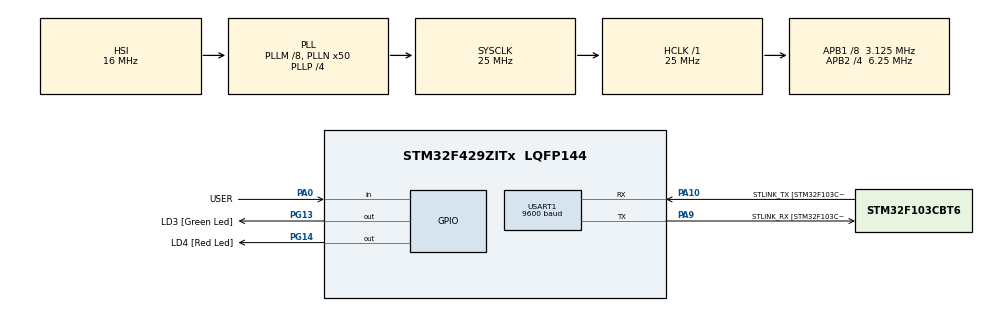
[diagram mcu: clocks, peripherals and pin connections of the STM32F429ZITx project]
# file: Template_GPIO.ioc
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Mcu.Family=STM32F4
Mcu.Name=STM32F429ZITx
Mcu.Package=LQFP144
NVIC.PriorityGroup=NVIC_PRIORITYGROUP_4
NVIC.USART1_IRQn=true\:0\:0\:false\:false\:true\:true\:true\:true
PA0/WKUP.GPIO_Label=USER
PA0/WKUP.Signal=GPIO_Input
PA10.GPIO_Label=STLINK_TX [STM32F103CBT6_PA2]
PA10.Mode=Asynchronous
PA10.Signal=USART1_RX
PA13.GPIO_Label=SWDIO
PA13.Mode=Serial_Wire
PA13.Signal=SYS_JTMS-SWDIO
PA14.GPIO_Label=SWCLK
PA14.Mode=Serial_Wire
PA14.Signal=SYS_JTCK-SWCLK
PA9.GPIO_Label=STLINK_RX [STM32F103CBT6_PA3]
PA9.Mode=Asynchronous
PA9.Signal=USART1_TX
PG13.GPIO_Label=LD3 [Green Led]
PG13.Signal=GPIO_Output
PG14.GPIO_Label=LD4 [Red Led]
PG14.GPIO_Mode=GPIO_MODE_OUTPUT_PP
PG14.GPIO_PuPd=GPIO_NOPULL
PG14.GPIO_Speed=GPIO_SPEED_FREQ_LOW
PG14.Signal=GPIO_Output
PH0/OSC_IN.GPIO_Label=PH0-OSC_IN
PH0/OSC_IN.Mode=HSE-External-Oscillator
PH0/OSC_IN.Signal=RCC_OSC_IN
PH1/OSC_OUT.GPIO_Label=PH1-OSC_OUT
PH1/OSC_OUT.Mode=HSE-External-Oscillator
PH1/OSC_OUT.Signal=RCC_OSC_OUT
ProjectManager.HeapSize=0x200
ProjectManager.StackSize=0x400
ProjectManager.TargetToolchain=MDK-ARM V5.32
RCC.48MHZClocksFreq_Value=14285714.285714285
RCC.AHBFreq_Value=25000000
RCC.APB1CLKDivider=RCC_HCLK_DIV8
RCC.APB1Freq_Value=3125000
RCC.APB1TimFreq_Value=6250000
RCC.APB2CLKDivider=RCC_HCLK_DIV4
RCC.APB2Freq_Value=6250000
RCC.APB2TimFreq_Value=12500000
RCC.CortexFreq_Value=25000000
RCC.HCLKFreq_Value=25000000
RCC.HSE_VALUE=8000000
RCC.HSI_VALUE=16000000
RCC.LSE_VALUE=32768
RCC.PLLM=8
RCC.PLLN=50
RCC.PLLP=RCC_PLLP_DIV4
RCC.PLLQ=7
RCC.SYSCLKFreq_VALUE=25000000
RCC.SYSCLKSource=RCC_SYSCLKSOURCE_PLLCLK
RCC.VCOOutputFreq_Value=100000000
USART1.BaudRate=9600
USART1.VirtualMode=VM_ASYNC
board=STM32F429I-DISC1

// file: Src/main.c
/* USER CODE BEGIN Header */
/**
  ******************************************************************************
  * @file           : main.c
  * @brief          : Main program body
  ******************************************************************************
  * @attention
  *
  * <h2><center>&copy; Copyright (c) 2020 STMicroelectronics.
  * All rights reserved.</center></h2>
  *
  * This software component is licensed by ST under BSD 3-Clause license,
  * the "License"; You may not use this file except in compliance with the
  * License. You may obtain a copy of the License at:
  *                        opensource.org/licenses/BSD-3-Clause
  *
  ******************************************************************************
  */
/* USER CODE END Header */
#include "main.h"

/* USER CODE BEGIN Includes */
#include <stdio.h>
/* USER CODE END Includes */

UART_HandleTypeDef huart1;

void SystemClock_Config(void);
static void MX_GPIO_Init(void);
static void MX_USART1_UART_Init(void);

int main(void)
{

  /* MCU Configuration--------------------------------------------------------*/

  /* Reset of all peripherals, Initializes the Flash interface and the Systick. */
  HAL_Init();

  /* Configure the system clock */
  SystemClock_Config();

  /* Initialize all configured peripherals */
  MX_GPIO_Init();
  MX_USART1_UART_Init();
  /* USER CODE BEGIN 2 */
	printf("\n\rUSV - FIESC \n\r");
	printf("Laborator MICROCONTROLERE - Template STM32F429I-DISCO \n\r");
  /* USER CODE END 2 */

  /* Infinite loop */
  while (1)
  {

    /* USER CODE BEGIN 3 */
		if(HAL_GPIO_ReadPin(GPIOA,GPIO_PIN_0) == GPIO_PIN_RESET)
			HAL_GPIO_TogglePin(GPIOG,GPIO_PIN_14);
		else
			HAL_GPIO_TogglePin(GPIOG,GPIO_PIN_13);
		HAL_Delay(500);
  }
  /* USER CODE END 3 */
}

void SystemClock_Config(void)
{
  RCC_OscInitTypeDef RCC_OscInitStruct = {0};
  RCC_ClkInitTypeDef RCC_ClkInitStruct = {0};

  /** Configure the main internal regulator output voltage
  */
  __HAL_RCC_PWR_CLK_ENABLE();
  __HAL_PWR_VOLTAGESCALING_CONFIG(PWR_REGULATOR_VOLTAGE_SCALE3);

  /** Initializes the RCC Oscillators according to the specified parameters
  * in the RCC_OscInitTypeDef structure.
  */
  RCC_OscInitStruct.OscillatorType = RCC_OSCILLATORTYPE_HSI;
  RCC_OscInitStruct.HSIState = RCC_HSI_ON;
  RCC_OscInitStruct.HSICalibrationValue = RCC_HSICALIBRATION_DEFAULT;
  RCC_OscInitStruct.PLL.PLLState = RCC_PLL_ON;
  RCC_OscInitStruct.PLL.PLLSource = RCC_PLLSOURCE_HSI;
  RCC_OscInitStruct.PLL.PLLM = 8;
  RCC_OscInitStruct.PLL.PLLN = 50;
  RCC_OscInitStruct.PLL.PLLP = RCC_PLLP_DIV4;
  RCC_OscInitStruct.PLL.PLLQ = 7;
  if (HAL_RCC_OscConfig(&RCC_OscInitStruct) != HAL_OK)
  {
    Error_Handler();
  }

  /** Initializes the CPU, AHB and APB buses clocks
  */
  RCC_ClkInitStruct.ClockType = RCC_CLOCKTYPE_HCLK|RCC_CLOCKTYPE_SYSCLK
                              |RCC_CLOCKTYPE_PCLK1|RCC_CLOCKTYPE_PCLK2;
  RCC_ClkInitStruct.SYSCLKSource = RCC_SYSCLKSOURCE_PLLCLK;
  RCC_ClkInitStruct.AHBCLKDivider = RCC_SYSCLK_DIV1;
  RCC_ClkInitStruct.APB1CLKDivider = RCC_HCLK_DIV8;
  RCC_ClkInitStruct.APB2CLKDivider = RCC_HCLK_DIV4;

  if (HAL_RCC_ClockConfig(&RCC_ClkInitStruct, FLASH_LATENCY_0) != HAL_OK)
  {
    Error_Handler();
  }
}

static void MX_USART1_UART_Init(void)
{

  huart1.Instance = USART1;
  huart1.Init.BaudRate = 9600;
  huart1.Init.WordLength = UART_WORDLENGTH_8B;
  huart1.Init.StopBits = UART_STOPBITS_1;
  huart1.Init.Parity = UART_PARITY_NONE;
  huart1.Init.Mode = UART_MODE_TX_RX;
  huart1.Init.HwFlowCtl = UART_HWCONTROL_NONE;
  huart1.Init.OverSampling = UART_OVERSAMPLING_16;
  if (HAL_UART_Init(&huart1) != HAL_OK)
  {
    Error_Handler();
  }
  /* USER CODE BEGIN USART1_Init 2 */
	SET_BIT(huart1.Instance->CR1, USART_CR1_RXNEIE);
  HAL_NVIC_SetPriority(USART1_IRQn, 0, 0);
  HAL_NVIC_EnableIRQ(USART1_IRQn);

  /* USER CODE END USART1_Init 2 */

}

static void MX_GPIO_Init(void)
{
  GPIO_InitTypeDef GPIO_InitStruct = {0};

  /* GPIO Ports Clock Enable */
  __HAL_RCC_GPIOH_CLK_ENABLE();
  __HAL_RCC_GPIOA_CLK_ENABLE();
  __HAL_RCC_GPIOG_CLK_ENABLE();

  /*Configure GPIO pin Output Level */
  HAL_GPIO_WritePin(GPIOG, LD3_Pin|LD4_Pin, GPIO_PIN_RESET);

  /*Configure GPIO pin : USER_Pin */
  GPIO_InitStruct.Pin = USER_Pin;
  GPIO_InitStruct.Mode = GPIO_MODE_INPUT;
  GPIO_InitStruct.Pull = GPIO_NOPULL;
  HAL_GPIO_Init(USER_GPIO_Port, &GPIO_InitStruct);

  /*Configure GPIO pins : LD3_Pin LD4_Pin */
  GPIO_InitStruct.Pin = LD3_Pin|LD4_Pin;
  GPIO_InitStruct.Mode = GPIO_MODE_OUTPUT_PP;
  GPIO_InitStruct.Pull = GPIO_NOPULL;
  GPIO_InitStruct.Speed = GPIO_SPEED_FREQ_LOW;
  HAL_GPIO_Init(GPIOG, &GPIO_InitStruct);

}

/* USER CODE BEGIN 4 */
#ifdef __GNUC__
  /* With GCC/RAISONANCE, small printf (option LD Linker->Libraries->Small printf
     set to 'Yes') calls __io_putchar() */
  #define PUTCHAR_PROTOTYPE int __io_putchar(int ch)
#else
  #define PUTCHAR_PROTOTYPE int fputc(int ch, FILE *f)
#endif /* __GNUC__ */
/**
  * @brief  Retargets the C library printf function to the USART.
  * @param  None
  * @retval None
  */
PUTCHAR_PROTOTYPE
{
  /* write a character to the uart1 and Loop until the end of transmission */
  HAL_UART_Transmit(&huart1, (uint8_t *)&ch, 1, 0xFFFF);

  return ch;
}
/* USER CODE END 4 */

void Error_Handler(void)
{
}
